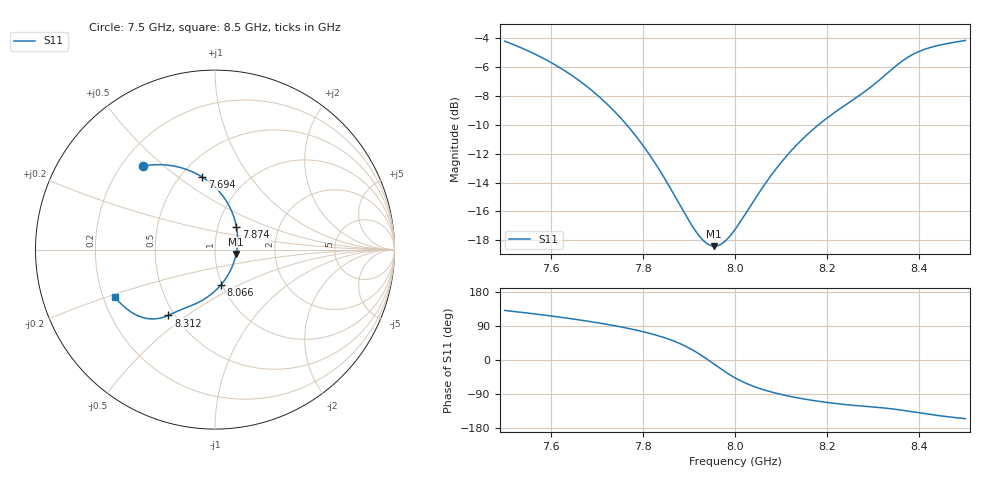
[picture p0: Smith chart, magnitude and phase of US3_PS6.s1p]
! Touchstone file exported from HFSS 2025.1.0
!  File:  C:/Users/user/Documents/Ansoft/TFG_UWB-MIMO-Array.aedt
!  Generated:  04:38:08 PM Nov 17, 2026
!  Design:  US3_PS6
!  Project:  TFG_UWB-MIMO-Array
!  Setup:  Setup_ch9
!  Solution:  Sweep_7p5_8p5
! Variables:
!  board_x = 26mm
!  board_y = 26mm
!  cu_t = 0.035mm
!  line_w = 3.92mm
!  pad_xy = 22mm
!  pad_zn = 25mm
!  pad_zp = 33mm
!  par_L = 7.05mm
!  par_W = 11mm
!  par_yc = 0.615mm
!  par_z = 1.035mm
!  patch_L = 6.29mm
!  patch_W = 11.421266mm
!  sub_h = 2.07mm
!  tr_l = 6.6mm
!  tr_w = 0.8mm
!  u_Lu = 2.65mm
!  u_Wu = 4.4mm
!  u_t = 0.8mm
!  u_y0 = -0.7mm
# GHz S MA R 50.000000
! Terminal data exported
! Port[1] = P1
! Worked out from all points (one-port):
!   1001 points, 7.5 GHz to 8.5 GHz, reference 50 ohm
!   lowest |S11| = -18.4 dB at 7.955 GHz (marker M1), VSWR 1.27, Z = 63.3 - j3.05 ohm
!   |S11| at or under -10 dB: 7.765 GHz to 8.181 GHz (416.8 MHz wide, 5.23 % of centre)
!   S11 on the Smith chart (normalised r, x): 7.5 GHz: 0.28, +0.43; 7.694 GHz: 0.64, +0.62; 7.874 GHz: 1.23, +0.32; 8.066 GHz: 0.99, -0.40; 8.312 GHz: 0.46, -0.43; 8.5 GHz: 0.25, -0.21
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7.5  0.615 130.8
7.565  0.5555 121.7
7.625  0.492 112.2
7.659  0.4525 106.4
7.694  0.4093 99.8
7.75  0.3361 87.9
7.782  0.2928 79.9
7.812  0.2522 71.2
7.874  0.174 46.7
7.875  0.1729 46.2
7.904  0.1439 29.2
7.923  0.1301 15.4
7.94  0.1225 1.5
7.955  0.1202 -11.4
7.976  0.1242 -29.2
8  0.1373 -47.0
8.066  0.1982 -80.0
8.095  0.2287 -89.4
8.125  0.2601 -97.4
8.18  0.3148 -108.7
8.25  0.3797 -118.9
8.312  0.4492 -125.3
8.347  0.5014 -129.9
8.375  0.5407 -134.9
8.404  0.5704 -140.3
8.432  0.5894 -145.2
8.466  0.6055 -150.4
8.5  0.6183 -154.8
